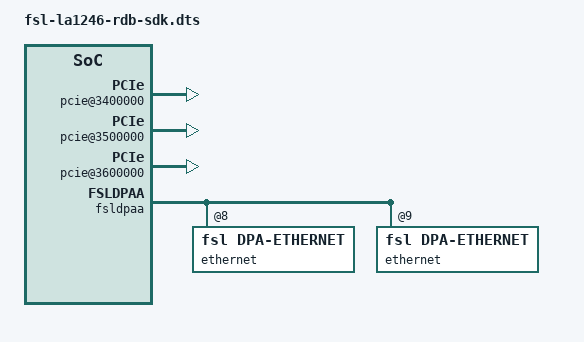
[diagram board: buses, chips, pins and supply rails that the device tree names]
// SPDX-License-Identifier: (GPL-2.0+ OR MIT)
/*
 * Device Tree file for Layerscape LS1046A based Aberdeen board
 *
 * Copyright 2020-2022 NXP
 *
 */

#include "fsl-la1246-rdb.dts"
#include "qoriq-qman-portals-sdk.dtsi"
#include "qoriq-bman-portals-sdk.dtsi"

&bman_fbpr {
	compatible = "fsl,bman-fbpr";
	alloc-ranges = <0 0 0x10000 0>;
};
&qman_fqd {
	compatible = "fsl,qman-fqd";
	alloc-ranges = <0 0 0x10000 0>;
};
&qman_pfdr {
	compatible = "fsl,qman-pfdr";
	alloc-ranges = <0 0 0x10000 0>;
};

&soc {
/delete-property/ dma-coherent;
#include "qoriq-dpaa-eth.dtsi"
#include "qoriq-fman3-0-6oh.dtsi"

pcie@3400000 {
        /delete-property/ iommu-map;
       num-ib-windows = <6>;
       num-ob-windows = <6>;
       status = "okay";
};

pcie@3500000 {
        /delete-property/ iommu-map;
       num-ib-windows = <6>;
       num-ob-windows = <6>;
       status = "okay";
};

pcie@3600000 {
        /delete-property/ iommu-map;
       num-ib-windows = <6>;
       num-ob-windows = <6>;
       status = "okay";
};

/delete-node/ iommu@9000000;
};

&fsldpaa {
	ethernet@0 {
		status = "disabled";
	};
	ethernet@1 {
		status = "disabled";
	};
	ethernet@2 {
		status = "disabled";
	};
	ethernet@3 {
		status = "disabled";
	};
	ethernet@4 {
		status = "disabled";
	};
	ethernet@5 {
		status = "disabled";
	};
	ethernet@6 {
		status = "disabled";
	};
	ethernet@7 {
		status = "disabled";
	};
	ethernet@8 {
		compatible = "fsl,dpa-ethernet";
		fsl,fman-mac = <&enet6>;
		dma-coherent;
	};
	ethernet@9 {
		compatible = "fsl,dpa-ethernet";
		fsl,fman-mac = <&enet7>;
		dma-coherent;
	};
};

&fman0 {
	compatible = "fsl,fman", "simple-bus";
};
